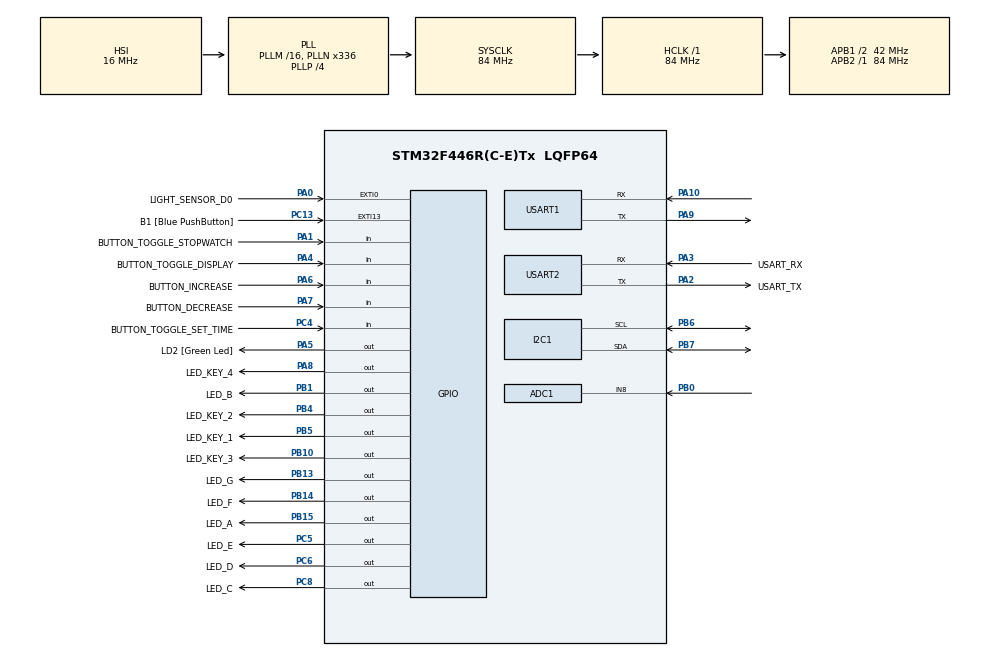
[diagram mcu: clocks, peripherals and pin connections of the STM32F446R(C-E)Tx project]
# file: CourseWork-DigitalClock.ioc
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ADC1.Channel-1\#ChannelRegularConversion=ADC_CHANNEL_8
ADC1.ContinuousConvMode=ENABLE
ADC1.EnableAnalogWatchDog=false
ADC1.NbrOfConversion=1
ADC1.NbrOfConversionFlag=1
ADC1.Rank-1\#ChannelRegularConversion=1
ADC1.Resolution=ADC_RESOLUTION_12B
ADC1.SamplingTime-1\#ChannelRegularConversion=ADC_SAMPLETIME_480CYCLES
ADC1.master=1
I2C1.I2C_Mode=I2C_Fast
Mcu.Family=STM32F4
Mcu.Name=STM32F446R(C-E)Tx
Mcu.Package=LQFP64
NVIC.ADC_IRQn=true\:0\:0\:false\:false\:true\:true\:true\:true
NVIC.EXTI0_IRQn=true\:0\:0\:false\:false\:true\:true\:true\:true
NVIC.PriorityGroup=NVIC_PRIORITYGROUP_0
NVIC.TIM3_IRQn=true\:0\:0\:false\:false\:true\:true\:true\:true
NVIC.TIM4_IRQn=true\:0\:0\:false\:false\:true\:true\:true\:true
NVIC.TIM6_DAC_IRQn=true\:0\:0\:false\:false\:true\:true\:true\:true
NVIC.USART1_IRQn=true\:0\:0\:false\:false\:true\:true\:true\:true
NVIC.USART2_IRQn=true\:0\:0\:false\:false\:true\:true\:true\:true
PA0-WKUP.GPIO_Label=LIGHT_SENSOR_D0
PA0-WKUP.GPIO_ModeDefaultEXTI=GPIO_MODE_IT_RISING_FALLING
PA0-WKUP.GPIO_PuPd=GPIO_PULLDOWN
PA0-WKUP.Signal=GPXTI0
PA1.GPIO_Label=BUTTON_TOGGLE_STOPWATCH
PA1.GPIO_PuPd=GPIO_PULLUP
PA1.Signal=GPIO_Input
PA10.Mode=Asynchronous
PA10.Signal=USART1_RX
PA13.GPIO_Label=TMS
PA13.Signal=SYS_JTMS-SWDIO
PA14.GPIO_Label=TCK
PA14.Signal=SYS_JTCK-SWCLK
PA2.GPIO_Label=USART_TX
PA2.Mode=Asynchronous
PA2.Signal=USART2_TX
PA3.GPIO_Label=USART_RX
PA3.Mode=Asynchronous
PA3.Signal=USART2_RX
PA4.GPIO_Label=BUTTON_TOGGLE_DISPLAY
PA4.GPIO_Mode=GPIO_MODE_INPUT
PA4.GPIO_PuPd=GPIO_PULLUP
PA4.Signal=GPIO_Input
PA5.GPIO_Label=LD2 [Green Led]
PA5.Signal=GPIO_Output
PA6.GPIO_Label=BUTTON_INCREASE
PA6.GPIO_PuPd=GPIO_PULLUP
PA6.Signal=GPIO_Input
PA7.GPIO_Label=BUTTON_DECREASE
PA7.GPIO_PuPd=GPIO_PULLUP
PA7.Signal=GPIO_Input
PA8.GPIO_Label=LED_KEY_4
PA8.Signal=GPIO_Output
PA9.Mode=Asynchronous
PA9.Signal=USART1_TX
PB0.Signal=ADCx_IN8
PB1.GPIO_Label=LED_B
PB1.Signal=GPIO_Output
PB10.GPIO_Label=LED_KEY_3
PB10.Signal=GPIO_Output
PB13.GPIO_Label=LED_G
PB13.Signal=GPIO_Output
PB14.GPIO_Label=LED_F
PB14.Signal=GPIO_Output
PB15.GPIO_Label=LED_A
PB15.Signal=GPIO_Output
PB3.GPIO_Label=SWO
PB3.Signal=SYS_JTDO-SWO
PB4.GPIO_Label=LED_KEY_2
PB4.Signal=GPIO_Output
PB5.GPIO_Label=LED_KEY_1
PB5.Signal=GPIO_Output
PB6.GPIO_Pu=GPIO_PULLUP
PB6.Mode=I2C
PB6.Signal=I2C1_SCL
PB7.GPIO_Pu=GPIO_PULLUP
PB7.Mode=I2C
PB7.Signal=I2C1_SDA
PC13.GPIO_Label=B1 [Blue PushButton]
PC13.GPIO_ModeDefaultEXTI=GPIO_MODE_IT_FALLING
PC13.Signal=GPXTI13
PC14-OSC32_IN.Mode=LSE-External-Oscillator
PC14-OSC32_IN.Signal=RCC_OSC32_IN
PC15-OSC32_OUT.Mode=LSE-External-Oscillator
PC15-OSC32_OUT.Signal=RCC_OSC32_OUT
PC4.GPIO_Label=BUTTON_TOGGLE_SET_TIME
PC4.GPIO_PuPd=GPIO_PULLUP
PC4.Signal=GPIO_Input
PC5.GPIO_Label=LED_E
PC5.Signal=GPIO_Output
PC6.GPIO_Label=LED_D
PC6.Signal=GPIO_Output
PC8.GPIO_Label=LED_C
PC8.Signal=GPIO_Output
PH0-OSC_IN.Signal=RCC_OSC_IN
PH1-OSC_OUT.Signal=RCC_OSC_OUT
ProjectManager.HeapSize=0x200
ProjectManager.StackSize=0x400
ProjectManager.TargetToolchain=STM32CubeIDE
RCC.AHBFreq_Value=84000000
RCC.APB1CLKDivider=RCC_HCLK_DIV2
RCC.APB1Freq_Value=42000000
RCC.APB1TimFreq_Value=84000000
RCC.APB2Freq_Value=84000000
RCC.APB2TimFreq_Value=84000000
RCC.CortexFreq_Value=84000000
RCC.FLatency-AdvancedSettings=FLASH_LATENCY_2
RCC.HCLKFreq_Value=84000000
RCC.HSE_VALUE=8000000
RCC.HSI_VALUE=16000000
RCC.PLLN=336
RCC.PLLP=RCC_PLLP_DIV4
RCC.RCC_RTC_Clock_SourceVirtual=RCC_RTCCLKSOURCE_LSE
RCC.SYSCLKFreq_VALUE=84000000
RCC.SYSCLKSource=RCC_SYSCLKSOURCE_PLLCLK
RCC.USBFreq_Value=168000000
RCC.VCOOutputFreq_Value=336000000
RTC.Format=RTC_FORMAT_BIN
SH.ADCx_IN8.0=ADC1_IN8,IN8
TIM2.Prescaler=8399
TIM3.Period=10
TIM3.Prescaler=8399
TIM4.Period=10000
TIM4.Prescaler=8399
TIM5.Prescaler=8399
TIM6.Period=10000
TIM6.Prescaler=8399
USART1.VirtualMode=VM_ASYNC
USART2.VirtualMode=VM_ASYNC
VP_RTC_VS_RTC_Activate.Mode=RTC_Enabled
VP_RTC_VS_RTC_Calendar.Mode=RTC_Calendar
VP_TIM2_VS_ClockSourceINT.Mode=Internal
VP_TIM3_VS_ClockSourceINT.Mode=Internal
VP_TIM4_VS_ClockSourceINT.Mode=Internal
VP_TIM5_VS_ClockSourceINT.Mode=Internal
VP_TIM6_VS_ClockSourceINT.Mode=Enable_Timer
board=NUCLEO-F446RE

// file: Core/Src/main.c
/* USER CODE BEGIN Header */
/**
  ******************************************************************************
  * @file           : main.c
  * @brief          : Main program body
  ******************************************************************************
  * @attention
  *
  * Copyright (c) 2023 STMicroelectronics.
  * All rights reserved.
  *
  * This software is licensed under terms that can be found in the LICENSE file
  * in the root directory of this software component.
  * If no LICENSE file comes with this software, it is provided AS-IS.
  *
  ******************************************************************************
  */
/* USER CODE END Header */
#include "main.h"

/* USER CODE BEGIN Includes */
#include <string.h>
#include <stdio.h>
#include <inttypes.h>
#include <led.h>
#include <stdbool.h>
#include "interface.h"
#include "index.html.h"
/* USER CODE END Includes */

/* USER CODE BEGIN PTD */
typedef struct {
  bool rx_buffer_overflow;
  char rx_buffer[1];
} uart_state;

typedef enum {
  WIFI_STATE_INITIAL,
  WIFI_STATE_CWMODE_WAITING,
  WIFI_STATE_CIPMODE_WAITING,
  WIFI_STATE_CIPMUX_WAITING,
  WIFI_STATE_WAITING_WIFI_CREDENTIALS,
  WIFI_STATE_CWJAP_WAITING,
  WIFI_STATE_CIPSERVER_WAITING,
  WIFI_STATE_OPERATING,
} wifi_state_t;

typedef enum {
  TCP_SERVER_STATE_IDLE,
  TCP_SERVER_STATE_READING_CLIENT_ID,
  TCP_SERVER_STATE_READING_DATA_LENGTH,
  TCP_SERVER_STATE_READING_DATA,
  TCP_SERVER_STATE_SENDING_DATA,
} tcp_server_state_t;
/* USER CODE END PTD */

ADC_HandleTypeDef hadc1;

I2C_HandleTypeDef hi2c1;

RTC_HandleTypeDef hrtc;

TIM_HandleTypeDef htim2;
TIM_HandleTypeDef htim3;
TIM_HandleTypeDef htim4;
TIM_HandleTypeDef htim5;
TIM_HandleTypeDef htim6;

UART_HandleTypeDef huart1;
UART_HandleTypeDef huart2;

void SystemClock_Config(void);
static void MX_GPIO_Init(void);
static void MX_USART2_UART_Init(void);
static void MX_RTC_Init(void);
static void MX_TIM3_Init(void);
static void MX_TIM6_Init(void);
static void MX_TIM2_Init(void);
static void MX_I2C1_Init(void);
static void MX_TIM5_Init(void);
static void MX_ADC1_Init(void);
static void MX_TIM4_Init(void);
static void MX_USART1_UART_Init(void);
/* USER CODE BEGIN PFP */
static size_t process_uart_command(const char *command_buffer, char *command_response_buffer);
static void wifi_init(UART_HandleTypeDef *huart);
static void wifi_process_tcp_data(UART_HandleTypeDef *huart, uint32_t client, char *data, uint32_t data_length);
static size_t process_http_request(char *http_request_buffer, const size_t http_request_buffer_length, char *http_response_buffer);
static void GPIO_EXTI_LIGHT_SENSOR_D0();
static void SOUND_SENSOR_Callback(button_state_t old, button_state_t new);
/* USER CODE END PFP */

/* USER CODE BEGIN 0 */
uart_state command_uart = {false, {0}};
char command_buffer[256] = {0};
size_t command_buffer_index = 0;
char command_response_buffer[512];

uart_state wifi_uart = {false, {0}};
char wifi_response[1024] = {0};
size_t wifi_response_index = 0;
char wifi_tx_buffer[8192];
wifi_state_t wifi_state = WIFI_STATE_INITIAL;
tcp_server_state_t tcp_server_state = TCP_SERVER_STATE_IDLE;
char ssid[64] = {0};
char password[64] = {0};

uint32_t tcp_server_client_id = 0;
uint32_t tcp_server_to_receive = 0;
uint32_t tcp_server_received = 0;
char tcp_response_buffer[4096] = {0};
uint32_t tcp_response_length = 0;

// -1 - low, 0 - no change, 1 - high
int light_sensor_state = 0;
int light_sensor_state_requested = 0;

bool track_enabled = false;
uint32_t track_acc = 0;
uint32_t track_duration = 0;
button_t sound_sensor;

/* USER CODE END 0 */

int main(void)
{

  /* MCU Configuration--------------------------------------------------------*/

  /* Reset of all peripherals, Initializes the Flash interface and the Systick. */
  HAL_Init();

  /* Configure the system clock */
  SystemClock_Config();

  /* Initialize all configured peripherals */
  MX_GPIO_Init();
  MX_USART2_UART_Init();
  MX_RTC_Init();
  MX_TIM3_Init();
  MX_TIM6_Init();
  MX_TIM2_Init();
  MX_I2C1_Init();
  MX_TIM5_Init();
  MX_ADC1_Init();
  MX_TIM4_Init();
  MX_USART1_UART_Init();
  /* USER CODE BEGIN 2 */
  if (HAL_TIM_Base_Start_IT(&htim3) != HAL_OK) {
    Error_Handler();
  }
  if (HAL_UART_Receive_IT(&huart2, (uint8_t*)command_uart.rx_buffer, sizeof(command_uart.rx_buffer)) != HAL_OK) {
    Error_Handler();
  }
  HAL_Delay(1000);
  if (HAL_GPIO_ReadPin(LIGHT_SENSOR_D0_GPIO_Port, LIGHT_SENSOR_D0_Pin) == GPIO_PIN_RESET) {
    light_sensor_state = -1;
    if (HAL_TIM_Base_Start(&htim2) != HAL_OK) {
      Error_Handler();
    }
  } else {
    light_sensor_state = 1;
  }

  sound_sensor = button_create(
      RESET,
      HAL_GetTick(),
      SOUND_SENSOR_BOUNCING_TIME_MS,
      &SOUND_SENSOR_Callback
  );
  if (HAL_ADC_Start_IT(&hadc1) != HAL_OK) {
    Error_Handler();
  }
  /* USER CODE END 2 */

  /* Infinite loop */
  /* USER CODE BEGIN WHILE */
  init_interface();
  wifi_init(&huart1);

//  HAL_ADC_Start(&hadc1);
//  HAL_ADC_PollForConversion(&hadc1, HAL_MAX_DELAY);
//  const uint32_t value = HAL_ADC_GetValue(&hadc1);
  while (1)
  {
    /* USER CODE END WHILE */

    /* USER CODE BEGIN 3 */
    interface_update_buttons();
    HAL_ADC_Start_IT(&hadc1);

    HAL_Delay(5);
  }
  /* USER CODE END 3 */
}

void SystemClock_Config(void)
{
  RCC_OscInitTypeDef RCC_OscInitStruct = {0};
  RCC_ClkInitTypeDef RCC_ClkInitStruct = {0};

  /** Configure the main internal regulator output voltage
  */
  __HAL_RCC_PWR_CLK_ENABLE();
  __HAL_PWR_VOLTAGESCALING_CONFIG(PWR_REGULATOR_VOLTAGE_SCALE3);

  /** Initializes the RCC Oscillators according to the specified parameters
  * in the RCC_OscInitTypeDef structure.
  */
  RCC_OscInitStruct.OscillatorType = RCC_OSCILLATORTYPE_HSI|RCC_OSCILLATORTYPE_LSE;
  RCC_OscInitStruct.LSEState = RCC_LSE_ON;
  RCC_OscInitStruct.HSIState = RCC_HSI_ON;
  RCC_OscInitStruct.HSICalibrationValue = RCC_HSICALIBRATION_DEFAULT;
  RCC_OscInitStruct.PLL.PLLState = RCC_PLL_ON;
  RCC_OscInitStruct.PLL.PLLSource = RCC_PLLSOURCE_HSI;
  RCC_OscInitStruct.PLL.PLLM = 16;
  RCC_OscInitStruct.PLL.PLLN = 336;
  RCC_OscInitStruct.PLL.PLLP = RCC_PLLP_DIV4;
  RCC_OscInitStruct.PLL.PLLQ = 2;
  RCC_OscInitStruct.PLL.PLLR = 2;
  if (HAL_RCC_OscConfig(&RCC_OscInitStruct) != HAL_OK)
  {
    Error_Handler();
  }

  /** Initializes the CPU, AHB and APB buses clocks
  */
  RCC_ClkInitStruct.ClockType = RCC_CLOCKTYPE_HCLK|RCC_CLOCKTYPE_SYSCLK
                              |RCC_CLOCKTYPE_PCLK1|RCC_CLOCKTYPE_PCLK2;
  RCC_ClkInitStruct.SYSCLKSource = RCC_SYSCLKSOURCE_PLLCLK;
  RCC_ClkInitStruct.AHBCLKDivider = RCC_SYSCLK_DIV1;
  RCC_ClkInitStruct.APB1CLKDivider = RCC_HCLK_DIV2;
  RCC_ClkInitStruct.APB2CLKDivider = RCC_HCLK_DIV1;

  if (HAL_RCC_ClockConfig(&RCC_ClkInitStruct, FLASH_LATENCY_2) != HAL_OK)
  {
    Error_Handler();
  }
}

static void MX_ADC1_Init(void)
{

  ADC_ChannelConfTypeDef sConfig = {0};

  /** Configure the global features of the ADC (Clock, Resolution, Data Alignment and number of conversion)
  */
  hadc1.Instance = ADC1;
  hadc1.Init.ClockPrescaler = ADC_CLOCK_SYNC_PCLK_DIV4;
  hadc1.Init.Resolution = ADC_RESOLUTION_12B;
  hadc1.Init.ScanConvMode = DISABLE;
  hadc1.Init.ContinuousConvMode = ENABLE;
  hadc1.Init.DiscontinuousConvMode = DISABLE;
  hadc1.Init.ExternalTrigConvEdge = ADC_EXTERNALTRIGCONVEDGE_NONE;
  hadc1.Init.ExternalTrigConv = ADC_SOFTWARE_START;
  hadc1.Init.DataAlign = ADC_DATAALIGN_RIGHT;
  hadc1.Init.NbrOfConversion = 1;
  hadc1.Init.DMAContinuousRequests = DISABLE;
  hadc1.Init.EOCSelection = ADC_EOC_SINGLE_CONV;
  if (HAL_ADC_Init(&hadc1) != HAL_OK)
  {
    Error_Handler();
  }

  /** Configure for the selected ADC regular channel its corresponding rank in the sequencer and its sample time.
  */
  sConfig.Channel = ADC_CHANNEL_8;
  sConfig.Rank = 1;
  sConfig.SamplingTime = ADC_SAMPLETIME_480CYCLES;
  if (HAL_ADC_ConfigChannel(&hadc1, &sConfig) != HAL_OK)
  {
    Error_Handler();
  }

}

static void MX_I2C1_Init(void)
{

  hi2c1.Instance = I2C1;
  hi2c1.Init.ClockSpeed = 400000;
  hi2c1.Init.DutyCycle = I2C_DUTYCYCLE_2;
  hi2c1.Init.OwnAddress1 = 0;
  hi2c1.Init.AddressingMode = I2C_ADDRESSINGMODE_7BIT;
  hi2c1.Init.DualAddressMode = I2C_DUALADDRESS_DISABLE;
  hi2c1.Init.OwnAddress2 = 0;
  hi2c1.Init.GeneralCallMode = I2C_GENERALCALL_DISABLE;
  hi2c1.Init.NoStretchMode = I2C_NOSTRETCH_DISABLE;
  if (HAL_I2C_Init(&hi2c1) != HAL_OK)
  {
    Error_Handler();
  }

}

static void MX_RTC_Init(void)
{

  RTC_TimeTypeDef sTime = {0};
  RTC_DateTypeDef sDate = {0};

  /** Initialize RTC Only
  */
  hrtc.Instance = RTC;
  hrtc.Init.HourFormat = RTC_HOURFORMAT_24;
  hrtc.Init.AsynchPrediv = 127;
  hrtc.Init.SynchPrediv = 255;
  hrtc.Init.OutPut = RTC_OUTPUT_DISABLE;
  hrtc.Init.OutPutPolarity = RTC_OUTPUT_POLARITY_HIGH;
  hrtc.Init.OutPutType = RTC_OUTPUT_TYPE_OPENDRAIN;
  if (HAL_RTC_Init(&hrtc) != HAL_OK)
  {
    Error_Handler();
  }

  /* USER CODE BEGIN Check_RTC_BKUP */
  if (HAL_RTCEx_BKUPRead(&hrtc, RTC_BKP_DR0) == '*') {
    // already initialized
    return;
  } else {
    HAL_RTCEx_BKUPWrite(&hrtc, RTC_BKP_DR0, '*');
  }
  /* USER CODE END Check_RTC_BKUP */

  /** Initialize RTC and set the Time and Date
  */
  sTime.Hours = 0;
  sTime.Minutes = 0;
  sTime.Seconds = 0;
  sTime.DayLightSaving = RTC_DAYLIGHTSAVING_NONE;
  sTime.StoreOperation = RTC_STOREOPERATION_RESET;
  if (HAL_RTC_SetTime(&hrtc, &sTime, RTC_FORMAT_BIN) != HAL_OK)
  {
    Error_Handler();
  }
  sDate.WeekDay = RTC_WEEKDAY_MONDAY;
  sDate.Month = RTC_MONTH_JANUARY;
  sDate.Date = 1;
  sDate.Year = 0;

  if (HAL_RTC_SetDate(&hrtc, &sDate, RTC_FORMAT_BIN) != HAL_OK)
  {
    Error_Handler();
  }

}

static void MX_TIM2_Init(void)
{

  TIM_ClockConfigTypeDef sClockSourceConfig = {0};
  TIM_MasterConfigTypeDef sMasterConfig = {0};

  htim2.Instance = TIM2;
  htim2.Init.Prescaler = 8399;
  htim2.Init.CounterMode = TIM_COUNTERMODE_UP;
  htim2.Init.Period = 4294967295;
  htim2.Init.ClockDivision = TIM_CLOCKDIVISION_DIV1;
  htim2.Init.AutoReloadPreload = TIM_AUTORELOAD_PRELOAD_DISABLE;
  if (HAL_TIM_Base_Init(&htim2) != HAL_OK)
  {
    Error_Handler();
  }
  sClockSourceConfig.ClockSource = TIM_CLOCKSOURCE_INTERNAL;
  if (HAL_TIM_ConfigClockSource(&htim2, &sClockSourceConfig) != HAL_OK)
  {
    Error_Handler();
  }
  sMasterConfig.MasterOutputTrigger = TIM_TRGO_RESET;
  sMasterConfig.MasterSlaveMode = TIM_MASTERSLAVEMODE_DISABLE;
  if (HAL_TIMEx_MasterConfigSynchronization(&htim2, &sMasterConfig) != HAL_OK)
  {
    Error_Handler();
  }

}

static void MX_TIM3_Init(void)
{

  TIM_ClockConfigTypeDef sClockSourceConfig = {0};
  TIM_MasterConfigTypeDef sMasterConfig = {0};

  htim3.Instance = TIM3;
  htim3.Init.Prescaler = 8399;
  htim3.Init.CounterMode = TIM_COUNTERMODE_UP;
  htim3.Init.Period = 10;
  htim3.Init.ClockDivision = TIM_CLOCKDIVISION_DIV1;
  htim3.Init.AutoReloadPreload = TIM_AUTORELOAD_PRELOAD_DISABLE;
  if (HAL_TIM_Base_Init(&htim3) != HAL_OK)
  {
    Error_Handler();
  }
  sClockSourceConfig.ClockSource = TIM_CLOCKSOURCE_INTERNAL;
  if (HAL_TIM_ConfigClockSource(&htim3, &sClockSourceConfig) != HAL_OK)
  {
    Error_Handler();
  }
  sMasterConfig.MasterOutputTrigger = TIM_TRGO_RESET;
  sMasterConfig.MasterSlaveMode = TIM_MASTERSLAVEMODE_DISABLE;
  if (HAL_TIMEx_MasterConfigSynchronization(&htim3, &sMasterConfig) != HAL_OK)
  {
    Error_Handler();
  }

}

static void MX_TIM4_Init(void)
{

  TIM_ClockConfigTypeDef sClockSourceConfig = {0};
  TIM_MasterConfigTypeDef sMasterConfig = {0};

  htim4.Instance = TIM4;
  htim4.Init.Prescaler = 8399;
  htim4.Init.CounterMode = TIM_COUNTERMODE_UP;
  htim4.Init.Period = 10000;
  htim4.Init.ClockDivision = TIM_CLOCKDIVISION_DIV1;
  htim4.Init.AutoReloadPreload = TIM_AUTORELOAD_PRELOAD_DISABLE;
  if (HAL_TIM_Base_Init(&htim4) != HAL_OK)
  {
    Error_Handler();
  }
  sClockSourceConfig.ClockSource = TIM_CLOCKSOURCE_INTERNAL;
  if (HAL_TIM_ConfigClockSource(&htim4, &sClockSourceConfig) != HAL_OK)
  {
    Error_Handler();
  }
  sMasterConfig.MasterOutputTrigger = TIM_TRGO_RESET;
  sMasterConfig.MasterSlaveMode = TIM_MASTERSLAVEMODE_DISABLE;
  if (HAL_TIMEx_MasterConfigSynchronization(&htim4, &sMasterConfig) != HAL_OK)
  {
    Error_Handler();
  }

}

static void MX_TIM5_Init(void)
{

  TIM_ClockConfigTypeDef sClockSourceConfig = {0};
  TIM_MasterConfigTypeDef sMasterConfig = {0};

  htim5.Instance = TIM5;
  htim5.Init.Prescaler = 8399;
  htim5.Init.CounterMode = TIM_COUNTERMODE_UP;
  htim5.Init.Period = 4294967295;
  htim5.Init.ClockDivision = TIM_CLOCKDIVISION_DIV1;
  htim5.Init.AutoReloadPreload = TIM_AUTORELOAD_PRELOAD_DISABLE;
  if (HAL_TIM_Base_Init(&htim5) != HAL_OK)
  {
    Error_Handler();
  }
  sClockSourceConfig.ClockSource = TIM_CLOCKSOURCE_INTERNAL;
  if (HAL_TIM_ConfigClockSource(&htim5, &sClockSourceConfig) != HAL_OK)
  {
    Error_Handler();
  }
  sMasterConfig.MasterOutputTrigger = TIM_TRGO_RESET;
  sMasterConfig.MasterSlaveMode = TIM_MASTERSLAVEMODE_DISABLE;
  if (HAL_TIMEx_MasterConfigSynchronization(&htim5, &sMasterConfig) != HAL_OK)
  {
    Error_Handler();
  }

}

static void MX_TIM6_Init(void)
{

  TIM_MasterConfigTypeDef sMasterConfig = {0};

  htim6.Instance = TIM6;
  htim6.Init.Prescaler = 8399;
  htim6.Init.CounterMode = TIM_COUNTERMODE_UP;
  htim6.Init.Period = 10000;
  htim6.Init.AutoReloadPreload = TIM_AUTORELOAD_PRELOAD_DISABLE;
  if (HAL_TIM_Base_Init(&htim6) != HAL_OK)
  {
    Error_Handler();
  }
  sMasterConfig.MasterOutputTrigger = TIM_TRGO_RESET;
  sMasterConfig.MasterSlaveMode = TIM_MASTERSLAVEMODE_DISABLE;
  if (HAL_TIMEx_MasterConfigSynchronization(&htim6, &sMasterConfig) != HAL_OK)
  {
    Error_Handler();
  }

}

static void MX_USART1_UART_Init(void)
{

  huart1.Instance = USART1;
  huart1.Init.BaudRate = 115200;
  huart1.Init.WordLength = UART_WORDLENGTH_8B;
  huart1.Init.StopBits = UART_STOPBITS_1;
  huart1.Init.Parity = UART_PARITY_NONE;
  huart1.Init.Mode = UART_MODE_TX_RX;
  huart1.Init.HwFlowCtl = UART_HWCONTROL_NONE;
  huart1.Init.OverSampling = UART_OVERSAMPLING_16;
  if (HAL_UART_Init(&huart1) != HAL_OK)
  {
    Error_Handler();
  }

}

static void MX_USART2_UART_Init(void)
{

  huart2.Instance = USART2;
  huart2.Init.BaudRate = 115200;
  huart2.Init.WordLength = UART_WORDLENGTH_8B;
  huart2.Init.StopBits = UART_STOPBITS_1;
  huart2.Init.Parity = UART_PARITY_NONE;
  huart2.Init.Mode = UART_MODE_TX_RX;
  huart2.Init.HwFlowCtl = UART_HWCONTROL_NONE;
  huart2.Init.OverSampling = UART_OVERSAMPLING_16;
  if (HAL_UART_Init(&huart2) != HAL_OK)
  {
    Error_Handler();
  }

}

static void MX_GPIO_Init(void)
{
  GPIO_InitTypeDef GPIO_InitStruct = {0};

  /* GPIO Ports Clock Enable */
  __HAL_RCC_GPIOC_CLK_ENABLE();
  __HAL_RCC_GPIOH_CLK_ENABLE();
  __HAL_RCC_GPIOA_CLK_ENABLE();
  __HAL_RCC_GPIOB_CLK_ENABLE();

  /*Configure GPIO pin Output Level */
  HAL_GPIO_WritePin(GPIOA, LD2_Pin|LED_KEY_4_Pin, GPIO_PIN_RESET);

  /*Configure GPIO pin Output Level */
  HAL_GPIO_WritePin(GPIOC, LED_E_Pin|LED_D_Pin|LED_C_Pin, GPIO_PIN_RESET);

  /*Configure GPIO pin Output Level */
  HAL_GPIO_WritePin(GPIOB, LED_B_Pin|LED_KEY_3_Pin|LED_G_Pin|LED_F_Pin
                          |LED_A_Pin|LED_KEY_2_Pin|LED_KEY_1_Pin, GPIO_PIN_RESET);

  /*Configure GPIO pin : B1_Pin */
  GPIO_InitStruct.Pin = B1_Pin;
  GPIO_InitStruct.Mode = GPIO_MODE_IT_FALLING;
  GPIO_InitStruct.Pull = GPIO_NOPULL;
  HAL_GPIO_Init(B1_GPIO_Port, &GPIO_InitStruct);

  /*Configure GPIO pin : LIGHT_SENSOR_D0_Pin */
  GPIO_InitStruct.Pin = LIGHT_SENSOR_D0_Pin;
  GPIO_InitStruct.Mode = GPIO_MODE_IT_RISING_FALLING;
  GPIO_InitStruct.Pull = GPIO_PULLDOWN;
  HAL_GPIO_Init(LIGHT_SENSOR_D0_GPIO_Port, &GPIO_InitStruct);

  /*Configure GPIO pins : BUTTON_TOGGLE_STOPWATCH_Pin BUTTON_TOGGLE_DISPLAY_Pin BUTTON_INCREASE_Pin BUTTON_DECREASE_Pin */
  GPIO_InitStruct.Pin = BUTTON_TOGGLE_STOPWATCH_Pin|BUTTON_TOGGLE_DISPLAY_Pin|BUTTON_INCREASE_Pin|BUTTON_DECREASE_Pin;
  GPIO_InitStruct.Mode = GPIO_MODE_INPUT;
  GPIO_InitStruct.Pull = GPIO_PULLUP;
  HAL_GPIO_Init(GPIOA, &GPIO_InitStruct);

  /*Configure GPIO pins : LD2_Pin LED_KEY_4_Pin */
  GPIO_InitStruct.Pin = LD2_Pin|LED_KEY_4_Pin;
  GPIO_InitStruct.Mode = GPIO_MODE_OUTPUT_PP;
  GPIO_InitStruct.Pull = GPIO_NOPULL;
  GPIO_InitStruct.Speed = GPIO_SPEED_FREQ_LOW;
  HAL_GPIO_Init(GPIOA, &GPIO_InitStruct);

  /*Configure GPIO pin : BUTTON_TOGGLE_SET_TIME_Pin */
  GPIO_InitStruct.Pin = BUTTON_TOGGLE_SET_TIME_Pin;
  GPIO_InitStruct.Mode = GPIO_MODE_INPUT;
  GPIO_InitStruct.Pull = GPIO_PULLUP;
  HAL_GPIO_Init(BUTTON_TOGGLE_SET_TIME_GPIO_Port, &GPIO_InitStruct);

  /*Configure GPIO pins : LED_E_Pin LED_D_Pin LED_C_Pin */
  GPIO_InitStruct.Pin = LED_E_Pin|LED_D_Pin|LED_C_Pin;
  GPIO_InitStruct.Mode = GPIO_MODE_OUTPUT_PP;
  GPIO_InitStruct.Pull = GPIO_NOPULL;
  GPIO_InitStruct.Speed = GPIO_SPEED_FREQ_LOW;
  HAL_GPIO_Init(GPIOC, &GPIO_InitStruct);

  /*Configure GPIO pins : LED_B_Pin LED_KEY_3_Pin LED_G_Pin LED_F_Pin
                           LED_A_Pin LED_KEY_2_Pin LED_KEY_1_Pin */
  GPIO_InitStruct.Pin = LED_B_Pin|LED_KEY_3_Pin|LED_G_Pin|LED_F_Pin
                          |LED_A_Pin|LED_KEY_2_Pin|LED_KEY_1_Pin;
  GPIO_InitStruct.Mode = GPIO_MODE_OUTPUT_PP;
  GPIO_InitStruct.Pull = GPIO_NOPULL;
  GPIO_InitStruct.Speed = GPIO_SPEED_FREQ_LOW;
  HAL_GPIO_Init(GPIOB, &GPIO_InitStruct);

  /* EXTI interrupt init*/
  HAL_NVIC_SetPriority(EXTI0_IRQn, 0, 0);
  HAL_NVIC_EnableIRQ(EXTI0_IRQn);

}

/* USER CODE BEGIN 4 */
void HAL_UART_RxCpltCallback(UART_HandleTypeDef *huart)
{
  if (huart->Instance == USART1) {
    const char received_byte = wifi_uart.rx_buffer[0];

    wifi_response[wifi_response_index++] = received_byte;
    if (wifi_response_index >= sizeof(wifi_response)) {
      if (!wifi_uart.rx_buffer_overflow) {
        wifi_uart.rx_buffer_overflow = true;
        wifi_response_index = 0;
        memset(wifi_response, 0, sizeof(wifi_response));
      }
    }

    switch (wifi_state) {
    case WIFI_STATE_INITIAL: break;
    case WIFI_STATE_CWMODE_WAITING:
      if(wifi_response_index >= 4 && !strcmp(wifi_response + wifi_response_index - 4, "OK\r\n")) {
        wifi_state = WIFI_STATE_CIPMODE_WAITING;
        const int len = sprintf(wifi_tx_buffer, "AT+CIPMODE=0\r\n");
        HAL_UART_Transmit_IT(huart, (uint8_t*)wifi_tx_buffer, len);
        wifi_response_index = 0;
        memset(wifi_response, 0, sizeof(wifi_response));
      }
      break;
    case WIFI_STATE_CIPMODE_WAITING:
      if(wifi_response_index >= 4 && !strcmp(wifi_response + wifi_response_index - 4, "OK\r\n")) {
        wifi_state = WIFI_STATE_CIPMUX_WAITING;
        const int len = sprintf(wifi_tx_buffer, "AT+CIPMUX=1\r\n");
        HAL_UART_Transmit_IT(huart, (uint8_t*)wifi_tx_buffer, len);
        wifi_response_index = 0;
        memset(wifi_response, 0, sizeof(wifi_response));
      }
      break;
    case WIFI_STATE_CIPMUX_WAITING:
      if(wifi_response_index >= 4 && !strcmp(wifi_response + wifi_response_index - 4, "OK\r\n")) {
        wifi_state = WIFI_STATE_WAITING_WIFI_CREDENTIALS;
        wifi_response_index = 0;
        memset(wifi_response, 0, sizeof(wifi_response));

        const int len = sprintf(command_response_buffer, "Ready to connect to Wi-Fi\n");
        HAL_UART_Transmit_IT(&huart2, (uint8_t*)command_response_buffer, len);
      }
      break;
    case WIFI_STATE_WAITING_WIFI_CREDENTIALS: break;
    case WIFI_STATE_CWJAP_WAITING:
      if(wifi_response_index >= 4 && !strcmp(wifi_response + wifi_response_index - 4, "OK\r\n")) {
        wifi_state = WIFI_STATE_CIPSERVER_WAITING;
        const int len = sprintf(wifi_tx_buffer, "AT+CIPSERVER=1,80\r\n");
        HAL_UART_Transmit_IT(huart, (uint8_t*)wifi_tx_buffer, len);
        wifi_response_index = 0;
        memset(wifi_response, 0, sizeof(wifi_response));
      }
      break;
    case WIFI_STATE_CIPSERVER_WAITING:
      if(wifi_response_index >= 4 && !strcmp(wifi_response + wifi_response_index - 4, "OK\r\n")) {
        wifi_state = WIFI_STATE_OPERATING;
        wifi_response_index = 0;
        memset(wifi_response, 0, sizeof(wifi_response));

        const int len = sprintf(command_response_buffer, "Web-server ready\n");
        HAL_UART_Transmit_IT(&huart2, (uint8_t*)command_response_buffer, len);
      }
      break;
    case WIFI_STATE_OPERATING:
      switch (tcp_server_state) {
      case TCP_SERVER_STATE_IDLE:
        if(wifi_response_index >= 10 && !strcmp(wifi_response + wifi_response_index - 10, ",CONNECT\r\n")) {
          wifi_response_index = 0;
          memset(wifi_response, 0, sizeof(wifi_response));
        } else if (wifi_response_index >= 9 && !strcmp(wifi_response + wifi_response_index - 9, ",CLOSED\r\n")) {
          wifi_response_index = 0;
          memset(wifi_response, 0, sizeof(wifi_response));
        } else if (wifi_response_index >= 9 && !strcmp(wifi_response + wifi_response_index - 9, "SEND OK\r\n")) {
          wifi_response_index = 0;
          memset(wifi_response, 0, sizeof(wifi_response));
        } else if (wifi_response_index >= 5 && !strcmp(wifi_response + wifi_response_index - 5, "+IPD,")) {
          tcp_server_state = TCP_SERVER_STATE_READING_CLIENT_ID;
          wifi_response_index = 0;
          memset(wifi_response, 0, sizeof(wifi_response));
        }
        break;
      case TCP_SERVER_STATE_READING_CLIENT_ID:
        if (received_byte == ',') {
          tcp_server_state = TCP_SERVER_STATE_READING_DATA_LENGTH;
          wifi_response[wifi_response_index - 1] = '\0';
          sscanf(wifi_response, "%"SCNu32"", &tcp_server_client_id);
          wifi_response_index = 0;
          memset(wifi_response, 0, sizeof(wifi_response));
        }
        break;
      case TCP_SERVER_STATE_READING_DATA_LENGTH:
        if (received_byte == ':') {
          tcp_server_state = TCP_SERVER_STATE_READING_DATA;
          wifi_response[wifi_response_index - 1] = '\0';
          sscanf(wifi_response, "%"SCNu32"", &tcp_server_to_receive);
          tcp_server_received = 0;
          wifi_response_index = 0;
          memset(wifi_response, 0, sizeof(wifi_response));
        }
        break;
      case TCP_SERVER_STATE_READING_DATA:
        if (++tcp_server_received == tcp_server_to_receive) {
          tcp_server_state = TCP_SERVER_STATE_IDLE;
          wifi_process_tcp_data(huart, tcp_server_client_id, wifi_response, tcp_server_received);
          wifi_response_index = 0;
          memset(wifi_response, 0, sizeof(wifi_response));
        }
        break;
      case TCP_SERVER_STATE_SENDING_DATA:
        if(wifi_response_index >= 6 && !strcmp(wifi_response + wifi_response_index - 6, "OK\r\n> ")) {
          tcp_server_state = TCP_SERVER_STATE_IDLE;
          HAL_UART_Transmit_IT(huart, (uint8_t*)tcp_response_buffer, tcp_response_length);
          wifi_response_index = 0;
          memset(wifi_response, 0, sizeof(wifi_response));
        }
        break;
      }
      break;
    }

    HAL_UART_Receive_IT(huart, (uint8_t*)wifi_uart.rx_buffer, sizeof(wifi_uart.rx_buffer));
  } else if (huart->Instance == USART2) {
    const char received_byte = command_uart.rx_buffer[0];
    switch (received_byte) {
    default:
      if (command_buffer_index >= sizeof(command_buffer)) {
        if (!command_uart.rx_buffer_overflow) {
          command_uart.rx_buffer_overflow = true;
          const int len = sprintf(command_response_buffer, "Error: command shouldn't be longer than %d\n", sizeof(command_buffer));
          HAL_UART_Transmit_IT(huart, (uint8_t*)command_response_buffer, len);
          command_buffer_index = 0;
          memset(command_buffer, 0, sizeof(command_buffer));
        }
      } else {
        command_buffer[command_buffer_index++] = received_byte;
      }
      break;
    case '\n':
      command_buffer[command_buffer_index] = '\0';
      command_buffer_index = 0;
      if (!command_uart.rx_buffer_overflow) {
        const size_t command_response_length = process_uart_command(command_buffer, command_response_buffer);
        HAL_UART_Transmit_IT(huart, (uint8_t*)command_response_buffer, command_response_length);
      }
      command_uart.rx_buffer_overflow = false;
      memset(command_buffer, 0, sizeof(command_buffer));
    }

    HAL_UART_Receive_IT(huart, (uint8_t*)command_uart.rx_buffer, sizeof(command_uart.rx_buffer));
  } else if (huart->Instance == USART3) {

  }
}

size_t process_uart_command(const char *command_buffer, char *command_response_buffer)
{
  char command[sizeof(command_buffer)] = {0};

  if (sscanf(command_buffer, "%s ", command) != 1) {
    return sprintf(command_response_buffer, "Error: cannot parse: %s\n", command_buffer);
  }

  if (!strcmp(command, "help")) {
    return sprintf(command_response_buffer, "Commands:\nhelp\nget_time\nset_time <hh> <mm> <ss>\nget_daylight_time\nget_stopwatch\ntrack_enable\ntrack_disable\nget_track\nconnect_wifi \"<ssid>\" \"<password>\"\n");
  } else if (!strcmp(command, "get_time")) {
    RTC_TimeTypeDef time;
    RTC_DateTypeDef date;   // it won't work without reading date
    if (HAL_RTC_GetTime(&hrtc, &time, RTC_FORMAT_BIN) != HAL_OK ||
        HAL_RTC_GetDate(&hrtc, &date, RTC_FORMAT_BIN) != HAL_OK) {
      return sprintf(command_response_buffer, "Error: could not get time\n");
    }
    return sprintf(command_response_buffer, "Time: %02d:%02d:%02d\n", time.Hours, time.Minutes, time.Seconds);
  } else if (!strcmp(command, "set_time")) {
    int hours = 0;
    int minutes = 0;
    int seconds = 0;
    const size_t offset = 9;
    if (sscanf(command_buffer + offset, "%d %d %d", &hours, &minutes, &seconds) != 3) {
      return sprintf(command_response_buffer, "Error: cannot parse hh mm ss: %s\n", command_buffer + offset);
    }
    if (hours < 0 || hours >= 24) {
      return sprintf(command_response_buffer, "Error: wrong hours value: %d\n", hours);
    }
    if (minutes < 0 || minutes >= 60) {
      return sprintf(command_response_buffer, "Error: wrong minutes value: %d\n", minutes);
    }
    if (seconds < 0 || seconds >= 60) {
      return sprintf(command_response_buffer, "Error: wrong seconds value: %d\n", seconds);
    }
    // could sscanf directly to this struct, but it would break data validation
    RTC_TimeTypeDef time;
    RTC_DateTypeDef date;   // it won't work without reading date
    if (HAL_RTC_GetTime(&hrtc, &time, RTC_FORMAT_BIN) != HAL_OK ||
        HAL_RTC_GetDate(&hrtc, &date, RTC_FORMAT_BIN) != HAL_OK) {
      return sprintf(command_response_buffer, "Error: could not set time\n");
    }
    time.Hours = hours;
    time.Minutes = minutes;
    time.Seconds = seconds;
    if (HAL_RTC_SetTime(&hrtc, &time, RTC_FORMAT_BIN) != HAL_OK ||
        HAL_RTC_SetDate(&hrtc, &date, RTC_FORMAT_BIN) != HAL_OK) {
      return sprintf(command_response_buffer, "Error: could not set time\n");
    }
    return sprintf(command_response_buffer, "Time set to %02d:%02d:%02d\n", hours, minutes, seconds);
  } else if (!strcmp(command, "get_daylight_time")) {
    uint32_t light_duration = 0;
    if (HAL_I2C_Mem_Read(&hi2c1, EEPROM_I2C_ADDRESS, EEPROM_DATA_ADDRESS, 2, (uint8_t*)&light_duration, sizeof(light_duration), HAL_MAX_DELAY) != HAL_OK) {
      //oy vey (HAL_BUSY)
    }
    const uint32_t seconds = light_duration / 10000;
    const uint32_t minutes = seconds / 60;
    const uint32_t hours   = minutes / 60;
    return sprintf(command_response_buffer, "Daylight time: %02"PRIu32":%02"PRIu32":%02"PRIu32"\n", hours, minutes % 60, seconds % 60);
  } else if (!strcmp(command, "get_stopwatch")) {
    const uint32_t total_centiseconds = interface.stopwatch_mode.stopwatch / 100;
    const uint32_t total_seconds      = total_centiseconds / 100;
    const uint32_t total_minutes      = total_seconds / 60;
    const uint32_t total_hours        = total_minutes / 60;

    const uint32_t centiseconds       = total_centiseconds % 100;
    const uint32_t seconds            = total_seconds % 60;
    const uint32_t minutes            = total_minutes % 60;
    const uint32_t hours              = total_hours;
    return sprintf(command_response_buffer, "Last stopwatch: %02"PRIu32":%02"PRIu32":%02"PRIu32".%02"PRIu32"\n", hours, minutes, seconds, centiseconds);
  } else if (!strcmp(command, "track_enable")) {
    track_enabled = true;
    return sprintf(command_response_buffer, "Track sampling enabled\n");
  } else if (!strcmp(command, "track_disable")) {
    track_enabled = false;
    return sprintf(command_response_buffer, "Track sampling disabled\n");
  } else if (!strcmp(command, "get_track")) {
    const uint32_t total_centiseconds = track_duration / 100;
    const uint32_t total_seconds      = total_centiseconds / 100;
    const uint32_t total_minutes      = total_seconds / 60;
    const uint32_t total_hours        = total_minutes / 60;

    const uint32_t centiseconds       = total_centiseconds % 100;
    const uint32_t seconds            = total_seconds % 60;
    const uint32_t minutes            = total_minutes % 60;
    const uint32_t hours              = total_hours;
    return sprintf(command_response_buffer, "Track duration: %02"PRIu32":%02"PRIu32":%02"PRIu32".%02"PRIu32"\n", hours, minutes, seconds, centiseconds);
  } else if (!strcmp(command, "connect_wifi")) {
    if (wifi_state != WIFI_STATE_WAITING_WIFI_CREDENTIALS) {
      return sprintf(command_response_buffer, "Error: Wi-Fi module not ready\n");
    }
    const size_t offset = 13;
    if (sscanf(command_buffer + offset, "\"%[^\"]\" \"%[^\"]\"", ssid, password) != 2) {
      return sprintf(command_response_buffer, "Error: cannot parse \"<ssid>\" \"<password>\": %s\n", command_buffer + offset);
    }
    wifi_state = WIFI_STATE_CWJAP_WAITING;
    const int len = sprintf(wifi_tx_buffer, "AT+CWJAP=\"%s\",\"%s\"\r\n", ssid, password);
    HAL_UART_Transmit_IT(&huart1, (uint8_t*)wifi_tx_buffer, len);
    return sprintf(command_response_buffer, "Connecting to Wi-Fi\n");
  } else {
    return sprintf(command_response_buffer, "Error: unknown command: %s\n", command);
  }
}

void wifi_init(UART_HandleTypeDef *huart)
{
  int len = sprintf(wifi_tx_buffer, "AT+CWQAP\r\n");
  HAL_UART_Transmit(huart, (uint8_t*)wifi_tx_buffer, len, HAL_MAX_DELAY);
  HAL_Delay(1000);
  len = sprintf(wifi_tx_buffer, "AT+RST\r\n");
  HAL_UART_Transmit(huart, (uint8_t*)wifi_tx_buffer, len, HAL_MAX_DELAY);
  HAL_Delay(1000);
  len = sprintf(wifi_tx_buffer, "AT+RESTORE\r\n");
  HAL_UART_Transmit(huart, (uint8_t*)wifi_tx_buffer, len, HAL_MAX_DELAY);
  HAL_Delay(1000);
  len = sprintf(wifi_tx_buffer, "ATE0\r\n");
  HAL_UART_Transmit(huart, (uint8_t*)wifi_tx_buffer, len, HAL_MAX_DELAY);

  HAL_Delay(3000);

  wifi_uart.rx_buffer_overflow = false;
  wifi_response_index = 0;
  memset(wifi_response, 0, sizeof(wifi_response));

  wifi_state = WIFI_STATE_CWMODE_WAITING;
  len = sprintf(wifi_tx_buffer, "AT+CWMODE=1\r\n");
  HAL_UART_Transmit_IT(huart, (uint8_t*)wifi_tx_buffer, len);
  HAL_UART_Receive_IT(huart, (uint8_t*)wifi_uart.rx_buffer, sizeof(wifi_uart.rx_buffer));
}

void wifi_process_tcp_data(UART_HandleTypeDef *huart, uint32_t client, char *data, uint32_t data_length)
{
  tcp_response_length = process_http_request(wifi_response, data_length, tcp_response_buffer);

  tcp_server_state = TCP_SERVER_STATE_SENDING_DATA;

  const int len = sprintf(wifi_tx_buffer, "AT+CIPSEND=%"PRIu32",%"PRIu32"\r\n", client, tcp_response_length);
  HAL_UART_Transmit_IT(huart, (uint8_t*)wifi_tx_buffer, len);
}

size_t process_http_request(char *http_request_buffer, const size_t http_request_buffer_length, char *http_response_buffer)
{
  const char *type = http_request_buffer;
  char *type_end = strchr(type, ' ');
  *type_end = '\0';

  const char *path = type_end + 1;
  char *path_end = strchr(path, ' ');
  *path_end = '\0';

  const char *data = strstr(path_end + 1, "\r\n\r\n") + 4;
  char *data_end = http_request_buffer + http_request_buffer_length;
  *data_end = '\0';

  if (strcmp(type, "GET") == 0) {
      if (strcmp(path, "/") == 0) {
        const size_t http_response_length_pre = sprintf(http_response_buffer, "HTTP/1.1 200 OK\r\nContent-Encoding: gzip\r\nContent-Type: text/html; charset=UTF-8\r\nContent-Length: %"PRIu32"\r\n\r\n", (uint32_t)index_html_length);
        memcpy(http_response_buffer + http_response_length_pre, index_html, index_html_length);
        return http_response_length_pre + index_html_length;
      }
      if (strcmp(path, "/favicon.ico") == 0) {
        return sprintf(http_response_buffer, "HTTP/1.1 404 Not Found\r\n\r\n");
      }
  }

  if (strcmp(type, "POST") == 0) {
      char command[128];
      char command_response[256];
      strcpy(command, path + 1);
      strcat(command, " ");
      strcat(command, data);
      const size_t command_response_length = process_uart_command(command, command_response);
      const size_t len_pre = sprintf(http_response_buffer, "HTTP/1.1 200 OK\r\nContent-Type: text/plain; charset=UTF-8\r\nContent-Length: %"PRIu32"\r\n\r\n", (uint32_t)command_response_length);
      memcpy(http_response_buffer + len_pre, command_response, command_response_length);
      return len_pre + command_response_length;
  }

  return sprintf(http_response_buffer, "HTTP/1.1 404 Not Found\r\n\r\n");
}

void HAL_GPIO_EXTI_Callback(uint16_t GPIO_Pin)
{
  switch (GPIO_Pin) {
  case LIGHT_SENSOR_D0_Pin:
    GPIO_EXTI_LIGHT_SENSOR_D0();
    break;
  default:
    break;
  }
}

void GPIO_EXTI_LIGHT_SENSOR_D0()
{
  if (htim6.Instance->CR1 & TIM_CR1_CEN) {
    HAL_TIM_Base_Stop_IT(&htim6);
  }

  switch (HAL_GPIO_ReadPin(LIGHT_SENSOR_D0_GPIO_Port, LIGHT_SENSOR_D0_Pin)) {
  case GPIO_PIN_RESET:
    light_sensor_state_requested = -1;
    break;
  case GPIO_PIN_SET:
    light_sensor_state_requested = 1;
    break;
  }

  htim6.Instance->CNT = 0;
  HAL_TIM_Base_Start_IT(&htim6);
}

void HAL_ADC_ConvCpltCallback(ADC_HandleTypeDef* hadc)
{
  if (hadc->Instance != ADC1) {
    return;
  }

  button_update(&sound_sensor,
      HAL_ADC_GetValue(hadc) <= SOUND_SENSOR_THRESHOLD ? RESET : SET,
      HAL_GetTick());
}

void SOUND_SENSOR_Callback(button_state_t old, button_state_t new)
{
  if (old == BUTTON_RESET_REQUESTED && new == BUTTON_RESET) {
    HAL_TIM_Base_Stop_IT(&htim4);
    track_acc += htim4.Instance->CNT;
    track_duration = track_acc;

    if (track_enabled) {
      const char *track_stopped_string = "Track stopped\n";
      HAL_UART_Transmit_IT(&huart2, (uint8_t*)track_stopped_string, strlen(track_stopped_string));
    }
  } else if (old == BUTTON_SET_REQUESTED && new == BUTTON_SET) {
    if (track_enabled) {
      track_acc = 0;
      htim4.Instance->CNT = 0;
      HAL_TIM_Base_Start_IT(&htim4);
    }

    if (track_enabled) {
      const char *track_started_string = "Track started\n";
      HAL_UART_Transmit_IT(&huart2, (uint8_t*)track_started_string, strlen(track_started_string));
    }
  }
}
/* USER CODE END 4 */

void Error_Handler(void)
{
  __disable_irq();
  while (1)
  {
  }
}
